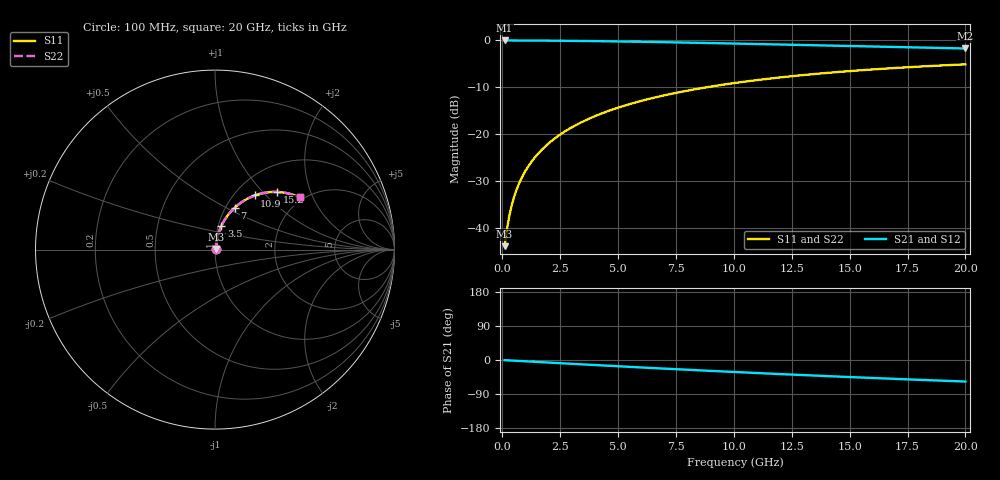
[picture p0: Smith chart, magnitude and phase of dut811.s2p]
! Touchstone file exported from HFSS 2026.1.0
!  File:  C:/ffzhzh/LocalFiles/Ansys_Project_Files/temp_train_TMRDL_811_1783156291_18472.aedt
!  Generated:  05:12:55 PM Jul  4, 2026
!  Design:  TMRDL
!  Project:  temp_train_TMRDL_811_1783156291_18472
! Variables:
!  h_bsmrdl = 2um
!  h_ox = 20um
!  h_rdl = 5um
!  h_sub = 80um
!  h_tmrdl = 4.87um
!  h_tsv = 80um
!  h_via = 3um
!  l_bsmrdl = 300um
!  l_sub = 1251.64um
!  l_tmrdl = 851.64um
!  m_sub = 200um
!  pitch = 45.22um
!  r_tsv = 6um
!  s_tmrdl = 10um
!  w_bsmrdl = 18um
!  w_sub = 500um
!  w_tmrdl = 12.74um
!  x_tsv_center1 = 858.01um
!  x_tsv_center2 = 1176.01um
!  x_tsv_center3 = 2040.39um
!  x_tsv_center4 = 2358.39um
!  x_tsv_center5 = 3222.77um
!  x_tsv_center6 = 3540.77um
# GHz S MA R 50.000000
! Terminal data exported
! Port[1] = TM_RDL1_1_T1
! Port[2] = TM_RDL1_1_T2
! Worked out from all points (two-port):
!   200 points, 100 MHz to 20 GHz, reference 50 ohm
!   highest |S21| = -0.04 dB at 100 MHz (marker M1); lowest = -1.8 dB at 20 GHz (marker M2)
!   |S21| within 3 dB of the highest: start of sweep to end of sweep
!   lowest |S11| = -43.8 dB at 100 MHz (marker M3), VSWR 1.01, Z = 50.5 + j0.419 ohm
!   |S11| at or under -10 dB: start of sweep to 8.834 GHz
!   |S22| runs from -43.8 to -5.1 dB; largest |S21 - S12| = 4.4e-15
!   S11 on the Smith chart (normalised r, x): 100 MHz: 1.01, +0.01; 3.5 GHz: 1.04, +0.28; 7 GHz: 1.10, +0.55; 10.9 GHz: 1.23, +0.87; 15.2 GHz: 1.47, +1.22; 20 GHz: 1.91, +1.60
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0.1  0.006424 40.3  0.9951 -0.3  0.9951 -0.3  0.006424 40.3
! Gamma 0 0 0 0
! Port Impedance 50 0 50 0
0.2  0.009694 58.4  0.995 -0.7  0.995 -0.7  0.009694 58.4
0.3  0.0134 66.5  0.9948 -1.0  0.9948 -1.0  0.0134 66.5
0.4  0.01722 70.9  0.9946 -1.4  0.9946 -1.4  0.01722 70.9
0.5  0.02108 73.6  0.9944 -1.7  0.9944 -1.7  0.02108 73.6
0.6  0.02497 75.3  0.9943 -2.1  0.9943 -2.1  0.02497 75.3
0.8  0.03278 77.4  0.9939 -2.7  0.9939 -2.7  0.03278 77.4
1.1  0.04455 78.8  0.9932 -3.7  0.9932 -3.7  0.04455 78.8
1.5  0.06025 79.1  0.9921 -5.1  0.9921 -5.1  0.06025 79.1
2.1  0.08368 78.4  0.9899 -7.1  0.9899 -7.1  0.08368 78.4
2.7  0.1068 77.1  0.9872 -9.1  0.9872 -9.1  0.1068 77.1
3.5  0.1371 74.9  0.9826 -11.7  0.9826 -11.7  0.1371 74.9
5  0.1916 70.6  0.9718 -16.5  0.9718 -16.5  0.1916 70.6
6.8  0.2528 65.2  0.9561 -22.2  0.9561 -22.2  0.2528 65.2
7  0.2593 64.7  0.9542 -22.8  0.9542 -22.8  0.2593 64.7
8.5  0.3063 60.4  0.9392 -27.3  0.9392 -27.3  0.3063 60.4
10.1  0.3525 55.9  0.9222 -31.9  0.9222 -31.9  0.3525 55.9
10.9  0.3741 53.7  0.9134 -34.1  0.9134 -34.1  0.3741 53.7
13.4  0.4354 47.2  0.8855 -40.9  0.8855 -40.9  0.4354 47.2
15.2  0.4737 42.7  0.8656 -45.5  0.8656 -45.5  0.4737 42.7
16.7  0.5021 39.1  0.8496 -49.2  0.8496 -49.2  0.5021 39.1
20  0.5541 31.6  0.8172 -56.9  0.8172 -56.9  0.5541 31.6
